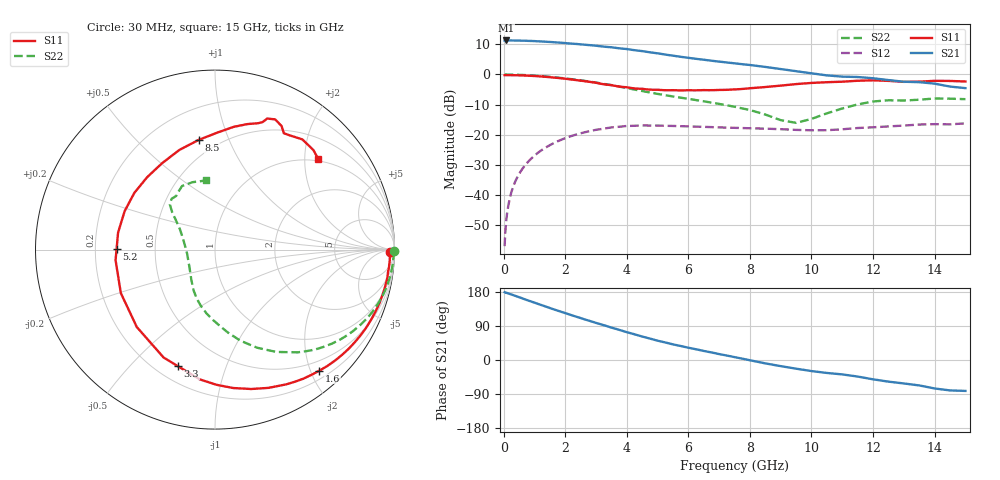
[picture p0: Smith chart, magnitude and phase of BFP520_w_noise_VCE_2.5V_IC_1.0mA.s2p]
! Infineon Technologies  Discrete & RF Semiconductors
! BFP520
! VCE =  2.5 V,  IC =  1.0 mA
! Common Emitter S-Parameters:  Oct 2015
# GHz  S  MA  R  50
!  f  S11  S21  S12  S22
! GHz  MAG  ANG  MAG  ANG  MAG  ANG  MAG  ANG
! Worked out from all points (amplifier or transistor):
!   109 points, 30 MHz to 15 GHz, reference 50 ohm
!   highest |S21| = 11.3 dB at 70 MHz (marker M1)
!   |S21| within 3 dB of that: start of sweep to 4.094 GHz
!   unconditionally stable (mu >= 1): 5.57 GHz to end of sweep
!   at 450 MHz: K = 0.04, MSG = 22.6 dB, |S12| = -34.0 dB
!   at 4 GHz: K = 0.59, MSG = 12.8 dB, |S12| = -17.1 dB
!   at 15 GHz: K = 1.98, MAG = 0.2 dB, |S12| = -16.2 dB
!   lowest NFmin = 0.87 dB at 900 MHz
!   S11 on the Smith chart (normalised r, x): 30 MHz: 60, -33; 1.6 GHz: 0.33, -2.14; 3.3 GHz: 0.29, -0.69; 5.2 GHz: 0.29, +0.00; 8.5 GHz: 0.40, +0.78; 15 GHz: 0.96, +2.33
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0.03  0.9747 -0.8  3.666 178.9  0.0014 69.1  0.9949 -0.6
0.07  0.9782 -2.2  3.674 177.4  0.0032 81.2  0.9958 -1.3
0.15  0.9746 -4.5  3.663 175.5  0.0066 84.1  0.9948 -2.8
0.25  0.9719 -7.4  3.671 172.8  0.0111 83.7  0.9932 -4.6
0.5  0.9667 -14.9  3.652 165.8  0.0222 80.9  0.9856 -9.3
1  0.9417 -30.3  3.585 151.3  0.0448 72.7  0.957 -18.4
1.6  0.8907 -49.2  3.443 134.4  0.0711 61.4  0.9025 -28.9
2  0.8494 -62.1  3.324 123.7  0.0873 53.8  0.8594 -35.6
2.6  0.7779 -82.5  3.136 108.0  0.1085 42.3  0.7866 -45.1
3.3  0.6818 -107.6  2.884 90.7  0.1269 29.0  0.6906 -55.8
4  0.6132 -135.3  2.647 73.4  0.1393 16.6  0.5946 -66.8
4.5  0.5779 -155.2  2.446 61.8  0.1423 8.4  0.5303 -74.0
5.1  0.5519 -177.1  2.203 49.1  0.141 0.3  0.466 -81.3
5.2  0.5484 179.7  2.162 47.2  0.1405 -0.8  0.4569 -82.4
6.5  0.5494 144.9  1.758 23.9  0.1347 -12.9  0.358 -97.7
7.6  0.5676 119.0  1.511 6.0  0.1293 -19.9  0.2835 -111.9
8.5  0.6181 98.4  1.333 -8.9  0.1257 -24.6  0.2158 -127.5
9.5  0.692 81.3  1.133 -22.9  0.1199 -28.4  0.157 -171.6
10.5  0.7436 71.2  0.965 -34.2  0.1184 -28.4  0.2258 149.9
12  0.7993 65.2  0.865 -51.0  0.1324 -32.1  0.3556 135.0
13  0.7533 59.4  0.757 -61.9  0.1415 -36.8  0.369 125.9
15  0.7648 41.1  0.593 -81.6  0.154 -48.0  0.3885 97.5
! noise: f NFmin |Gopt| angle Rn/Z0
0.45  0.88  0.79  5  0.61
0.9  0.87  0.75  15  0.62
1.9  1.31  0.61  32  0.51
2.4  1.44  0.57  45  0.48
3.5  1.45  0.55  70  0.41
